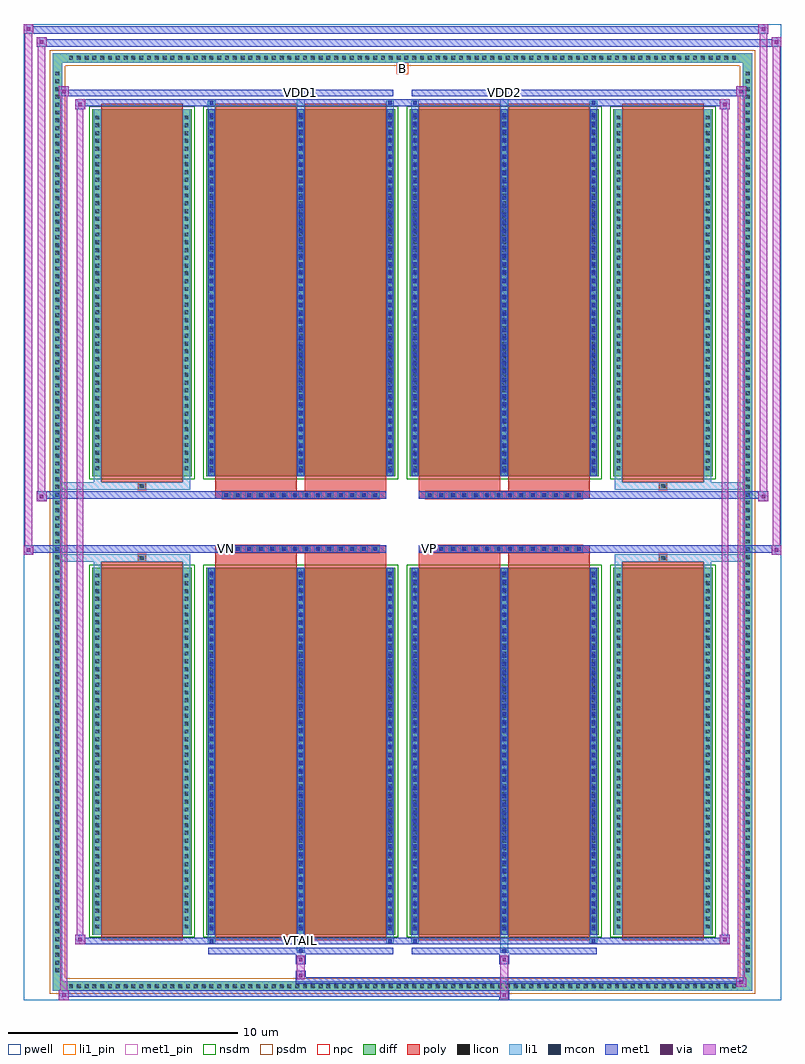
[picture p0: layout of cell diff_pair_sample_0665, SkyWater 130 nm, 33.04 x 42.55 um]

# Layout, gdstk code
import gdstk
lib = gdstk.Library(unit=1e-6, precision=5e-09)
def R(c, l, rs):  # rectangles x0, y0, x1, y1
    for r in rs: c.add(gdstk.rectangle(r[:2], r[2:], *l))
def A(c, l, x, y, w, h, nx, ny, dx, dy):  # array of equal rectangles
    R(c, l, [(x+i*dx, y+j*dy, x+i*dx+w, y+j*dy+h) for i in range(nx) for j in range(ny)])
def P(c, l, *ps):  # polygons
    for p in ps: c.add(gdstk.Polygon(p, *l))
pwell = (64, 44)
diff = (65, 20)
poly = (66, 20)
licon = (66, 44)
li1_pin = (67, 16)
li1 = (67, 20)
mcon = (67, 44)
met1_pin = (68, 16)
met1 = (68, 20)
via = (68, 44)
met2 = (69, 20)
nsdm = (93, 44)
psdm = (94, 20)
npc = (95, 20)

diff_pair_sample_0665 = lib.new_cell('diff_pair_sample_0665')
R(diff_pair_sample_0665, pwell, [(-16.52,-20.84,16.52,21.71), (-13.84,-19.03,-0.01,-0.805), (0.01,-19.03,13.84,-0.805), (-13.84,0.805,-0.01,19.03), (0.01,0.805,13.84,19.03)])
A(diff_pair_sample_0665, diff, -14.655, -20.44, 0.41, 0.41, 86, 2, 0.34, 40.47)
A(diff_pair_sample_0665, diff, -15.25, -19.755, 0.41, 0.41, 1, 116, 0, 0.34)
A(diff_pair_sample_0665, diff, 14.84, -19.755, 0.41, 0.41, 1, 116, 0, 0.34)
R(diff_pair_sample_0665, diff, [(-14.655,-20.44,14.655,-20.03), (-15.25,-19.755,-14.84,19.755), (14.84,-19.755,15.25,19.755), (-13.53,-17.985,-9.19,-1.985), (-8.55,-17.985,-0.32,-1.985), (0.32,-17.985,8.55,-1.985), (9.19,-17.985,13.53,-1.985), (-13.53,1.985,-9.19,17.985), (-8.55,1.985,-0.32,17.985), (0.32,1.985,8.55,17.985), (9.19,1.985,13.53,17.985), (-14.655,20.03,14.655,20.44)])
P(diff_pair_sample_0665, diff, [(15.25,20.44),(-15.25,20.44),(-15.25,-20.03),(-14.84,-20.03),(-14.84,20.03),(14.84,20.03),(14.84,-20.03),(-14.84,-20.03),(-15.25,-20.03),(-15.25,-20.44),(15.25,-20.44)])
A(diff_pair_sample_0665, poly, -7.85, -1.335, 0.33, 0.33, 14, 2, 0.5, 2.34)
A(diff_pair_sample_0665, poly, 1.02, -1.335, 0.33, 0.33, 14, 2, 0.5, 2.34)
R(diff_pair_sample_0665, poly, [(-13.14,-18.235,-9.58,-1.735), (-8.16,-18.235,-4.6,-1.735), (-4.27,-18.235,-0.71,-1.735), (0.71,-18.235,4.27,-1.735), (4.6,-18.235,8.16,-1.735), (9.58,-18.235,13.14,-1.735), (-11.525,-1.735,-11.195,-1.405), (-11.525,-1.735,-11.195,-1.405), (-8.16,-1.735,-4.6,-1.335), (-4.27,-1.735,-0.71,-1.335), (0.71,-1.735,4.27,-1.335), (4.6,-1.735,8.16,-1.335), (11.195,-1.735,11.525,-1.405), (11.195,-1.735,11.525,-1.405), (-8.16,-1.335,-0.71,-1.005), (0.71,-1.335,8.16,-1.005), (-8.16,1.005,-0.71,1.335), (0.71,1.005,8.16,1.335), (-8.16,1.335,-4.6,1.735), (-4.27,1.335,-0.71,1.735), (0.71,1.335,4.27,1.735), (4.6,1.335,8.16,1.735), (-11.525,1.405,-11.195,1.735), (-11.525,1.405,-11.195,1.735), (11.195,1.405,11.525,1.735), (11.195,1.405,11.525,1.735), (-13.14,1.735,-9.58,18.235), (-8.16,1.735,-4.6,18.235), (-4.27,1.735,-0.71,18.235), (0.71,1.735,4.27,18.235), (4.6,1.735,8.16,18.235), (9.58,1.735,13.14,18.235)])
A(diff_pair_sample_0665, licon, -14.535, -20.32, 0.17, 0.17, 86, 2, 0.34, 40.47)
A(diff_pair_sample_0665, licon, -15.13, -19.635, 0.17, 0.17, 1, 116, 0, 0.34)
A(diff_pair_sample_0665, licon, 14.96, -19.635, 0.17, 0.17, 1, 116, 0, 0.34)
A(diff_pair_sample_0665, licon, -13.39, -17.72, 0.17, 0.17, 1, 46, 0, 0.34)
A(diff_pair_sample_0665, licon, -9.5, -17.72, 0.17, 0.17, 1, 46, 0, 0.34)
A(diff_pair_sample_0665, licon, -8.41, -17.72, 0.17, 0.17, 3, 46, 3.89, 0.34)
A(diff_pair_sample_0665, licon, 0.46, -17.72, 0.17, 0.17, 3, 46, 3.89, 0.34)
A(diff_pair_sample_0665, licon, 9.33, -17.72, 0.17, 0.17, 1, 46, 0, 0.34)
A(diff_pair_sample_0665, licon, 13.22, -17.72, 0.17, 0.17, 1, 46, 0, 0.34)
A(diff_pair_sample_0665, licon, -7.77, -1.255, 0.17, 0.17, 14, 2, 0.5, 2.34)
A(diff_pair_sample_0665, licon, 1.1, -1.255, 0.17, 0.17, 14, 2, 0.5, 2.34)
A(diff_pair_sample_0665, licon, -13.39, 2.25, 0.17, 0.17, 1, 46, 0, 0.34)
A(diff_pair_sample_0665, licon, -9.5, 2.25, 0.17, 0.17, 1, 46, 0, 0.34)
A(diff_pair_sample_0665, licon, -8.41, 2.25, 0.17, 0.17, 3, 46, 3.89, 0.34)
A(diff_pair_sample_0665, licon, 0.46, 2.25, 0.17, 0.17, 3, 46, 3.89, 0.34)
A(diff_pair_sample_0665, licon, 9.33, 2.25, 0.17, 0.17, 1, 46, 0, 0.34)
A(diff_pair_sample_0665, licon, 13.22, 2.25, 0.17, 0.17, 1, 46, 0, 0.34)
R(diff_pair_sample_0665, licon, [(-11.445,-1.655,-11.275,-1.485), (11.275,-1.655,11.445,-1.485), (-11.445,1.485,-11.275,1.655), (11.275,1.485,11.445,1.655)])
R(diff_pair_sample_0665, li1_pin, [(-0.25,19.53,0.25,20.03)])
A(diff_pair_sample_0665, li1, -14.615, -20.4, 0.33, 0.33, 86, 2, 0.34, 40.47)
A(diff_pair_sample_0665, li1, -15.21, -19.715, 0.33, 0.33, 1, 116, 0, 0.34)
A(diff_pair_sample_0665, li1, 14.88, -19.715, 0.33, 0.33, 1, 116, 0, 0.34)
A(diff_pair_sample_0665, li1, -8.49, -17.985, 0.33, 16, 3, 2, 3.89, 19.97)
A(diff_pair_sample_0665, li1, 0.38, -17.985, 0.33, 16, 3, 2, 3.89, 19.97)
A(diff_pair_sample_0665, li1, -8.41, -17.81, 0.17, 0.17, 3, 44, 3.89, 0.36)
A(diff_pair_sample_0665, li1, -8.41, -17.81, 0.17, 15.65, 3, 2, 3.89, 19.97)
A(diff_pair_sample_0665, li1, 0.46, -17.81, 0.17, 0.17, 3, 44, 3.89, 0.36)
A(diff_pair_sample_0665, li1, 0.46, -17.81, 0.17, 15.65, 3, 2, 3.89, 19.97)
A(diff_pair_sample_0665, li1, -13.47, -17.8, 0.33, 0.33, 1, 46, 0, 0.34)
A(diff_pair_sample_0665, li1, -9.58, -17.8, 0.33, 0.33, 1, 46, 0, 0.34)
A(diff_pair_sample_0665, li1, -8.49, -17.8, 0.33, 0.33, 3, 46, 3.89, 0.34)
A(diff_pair_sample_0665, li1, 0.38, -17.8, 0.33, 0.33, 3, 46, 3.89, 0.34)
A(diff_pair_sample_0665, li1, 9.25, -17.8, 0.33, 0.33, 1, 46, 0, 0.34)
A(diff_pair_sample_0665, li1, 13.14, -17.8, 0.33, 0.33, 1, 46, 0, 0.34)
A(diff_pair_sample_0665, li1, -7.85, -1.335, 0.33, 0.33, 14, 2, 0.5, 2.34)
A(diff_pair_sample_0665, li1, 1.02, -1.335, 0.33, 0.33, 14, 2, 0.5, 2.34)
A(diff_pair_sample_0665, li1, -8.41, 2.16, 0.17, 0.17, 3, 44, 3.89, 0.36)
A(diff_pair_sample_0665, li1, 0.46, 2.16, 0.17, 0.17, 3, 44, 3.89, 0.36)
A(diff_pair_sample_0665, li1, -13.47, 2.17, 0.33, 0.33, 1, 46, 0, 0.34)
A(diff_pair_sample_0665, li1, -9.58, 2.17, 0.33, 0.33, 1, 46, 0, 0.34)
A(diff_pair_sample_0665, li1, -8.49, 2.17, 0.33, 0.33, 3, 46, 3.89, 0.34)
A(diff_pair_sample_0665, li1, 0.38, 2.17, 0.33, 0.33, 3, 46, 3.89, 0.34)
A(diff_pair_sample_0665, li1, 9.25, 2.17, 0.33, 0.33, 1, 46, 0, 0.34)
A(diff_pair_sample_0665, li1, 13.14, 2.17, 0.33, 0.33, 1, 46, 0, 0.34)
R(diff_pair_sample_0665, li1, [(-15.25,-20.44,-14.84,-20.03), (-15.25,-20.44,-14.84,-20.03), (-14.84,-20.44,14.84,-20.03), (14.84,-20.44,15.25,-20.03), (14.84,-20.44,15.25,-20.03), (-15.25,-20.03,-14.84,20.03), (14.84,-20.03,15.25,20.03), (-4.6,-18.79,-4.27,-17.985), (-4.52,-18.79,-4.35,-18.62), (4.27,-18.79,4.6,-17.985), (4.35,-18.79,4.52,-18.62), (-8.49,-18.36,-8.16,-17.985), (-8.41,-18.36,-8.24,-18.19), (-0.71,-18.36,-0.38,-17.985), (-0.63,-18.36,-0.46,-18.19), (0.38,-18.36,0.71,-17.985), (0.46,-18.36,0.63,-18.19), (8.16,-18.36,8.49,-17.985), (8.24,-18.36,8.41,-18.19), (-13.47,-17.985,-13.14,-1.985), (-9.58,-17.985,-9.25,-1.985), (9.25,-17.985,9.58,-1.985), (13.14,-17.985,13.47,-1.985), (-13.47,-1.985,-13.14,-1.405), (-9.58,-1.985,-9.25,-1.405), (9.25,-1.985,9.58,-1.405), (13.14,-1.985,13.47,-1.405), (-15.25,-1.735,-11.525,-1.405), (-13.47,-1.735,-11.525,-1.405), (-11.525,-1.735,-11.195,-1.405), (-11.195,-1.735,-9.25,-1.405), (9.25,-1.735,11.195,-1.405), (11.195,-1.735,11.525,-1.405), (11.195,-1.735,15.25,-1.405), (11.525,-1.735,13.47,-1.405), (-15.25,1.405,-11.525,1.735), (-13.47,1.405,-11.525,1.735), (-13.47,1.405,-13.14,1.985), (-11.525,1.405,-11.195,1.735), (-11.195,1.405,-9.25,1.735), (-9.58,1.405,-9.25,1.985), (9.25,1.405,11.195,1.735), (9.25,1.405,9.58,1.985), (11.195,1.405,11.525,1.735), (11.195,1.405,15.25,1.735), (11.525,1.405,13.47,1.735), (13.14,1.405,13.47,1.985), (-13.47,1.985,-13.14,17.985), (-9.58,1.985,-9.25,17.985), (9.25,1.985,9.58,17.985), (13.14,1.985,13.47,17.985), (-8.49,17.985,-8.16,18.36), (-4.6,17.985,-4.27,18.79), (-0.71,17.985,-0.38,18.36), (0.38,17.985,0.71,18.36), (4.27,17.985,4.6,18.79), (8.16,17.985,8.49,18.36), (-8.41,18.19,-8.24,18.36), (-0.63,18.19,-0.46,18.36), (0.46,18.19,0.63,18.36), (8.24,18.19,8.41,18.36), (-4.52,18.62,-4.35,18.79), (4.35,18.62,4.52,18.79), (-15.25,20.03,-14.84,20.44), (-15.25,20.03,-14.84,20.44), (-14.84,20.03,14.84,20.44), (14.84,20.03,15.25,20.44), (14.84,20.03,15.25,20.44)])
A(diff_pair_sample_0665, mcon, -8.41, -17.81, 0.17, 0.17, 3, 44, 3.89, 0.36)
A(diff_pair_sample_0665, mcon, 0.46, -17.81, 0.17, 0.17, 3, 44, 3.89, 0.36)
A(diff_pair_sample_0665, mcon, -7.77, -1.255, 0.17, 0.17, 14, 2, 0.5, 2.34)
A(diff_pair_sample_0665, mcon, 1.1, -1.255, 0.17, 0.17, 14, 2, 0.5, 2.34)
A(diff_pair_sample_0665, mcon, -8.41, 2.16, 0.17, 0.17, 3, 44, 3.89, 0.36)
A(diff_pair_sample_0665, mcon, 0.46, 2.16, 0.17, 0.17, 3, 44, 3.89, 0.36)
R(diff_pair_sample_0665, mcon, [(-4.52,-18.79,-4.35,-18.62), (4.35,-18.79,4.52,-18.62), (-8.41,-18.36,-8.24,-18.19), (-0.63,-18.36,-0.46,-18.19), (0.46,-18.36,0.63,-18.19), (8.24,-18.36,8.41,-18.19), (-8.41,18.19,-8.24,18.36), (-0.63,18.19,-0.46,18.36), (0.46,18.19,0.63,18.36), (8.24,18.19,8.41,18.36), (-4.52,18.62,-4.35,18.79), (4.35,18.62,4.52,18.79)])
R(diff_pair_sample_0665, met1_pin, [(-4.57,-18.4,-4.3,-18.13), (-7.82,-1.295,-7.55,-1.025), (1.05,-1.295,1.32,-1.025), (-4.57,18.58,-4.3,18.85), (4.3,18.58,4.57,18.85)])
A(diff_pair_sample_0665, met1, -8.47, -17.985, 0.29, 16, 3, 2, 3.89, 19.97)
A(diff_pair_sample_0665, met1, 0.4, -17.985, 0.29, 16, 3, 2, 3.89, 19.97)
A(diff_pair_sample_0665, met1, -8.47, -17.87, 0.29, 0.29, 3, 44, 3.89, 0.36)
A(diff_pair_sample_0665, met1, 0.4, -17.87, 0.29, 0.29, 3, 44, 3.89, 0.36)
A(diff_pair_sample_0665, met1, -7.83, -1.315, 0.29, 0.29, 14, 2, 0.5, 2.34)
A(diff_pair_sample_0665, met1, 1.04, -1.315, 0.29, 0.29, 14, 2, 0.5, 2.34)
A(diff_pair_sample_0665, met1, -8.47, 2.1, 0.29, 0.29, 3, 44, 3.89, 0.36)
A(diff_pair_sample_0665, met1, 0.4, 2.1, 0.29, 0.29, 3, 44, 3.89, 0.36)
R(diff_pair_sample_0665, met1, [(-14.98,-20.84,-14.55,-20.41), (4.22,-20.84,4.65,-20.41), (-14.98,-20.7,4.65,-20.41), (14.55,-20.27,14.98,-19.84), (-4.65,-20.13,14.98,-19.84), (-4.65,-19.99,-4.22,-19.56), (-4.65,-19.28,-4.22,-18.85), (4.22,-19.28,4.65,-18.85), (-8.47,-18.85,-0.4,-18.56), (-4.58,-18.85,-4.29,-18.56), (0.4,-18.85,8.47,-18.56), (4.29,-18.85,4.58,-18.56), (-14.27,-18.42,-13.84,-17.99), (-14.27,-18.42,-8.47,-18.13), (-8.47,-18.42,-8.18,-18.13), (-8.47,-18.42,-0.4,-18.13), (-0.69,-18.42,-0.4,-18.13), (-0.4,-18.42,0.4,-18.13), (0.4,-18.42,0.69,-18.13), (0.4,-18.42,8.47,-18.13), (8.18,-18.42,8.47,-18.13), (8.47,-18.42,14.27,-18.13), (13.84,-18.42,14.27,-17.99), (-16.52,-1.435,-16.09,-1.005), (16.09,-1.435,16.52,-1.005), (-16.52,-1.335,-0.71,-1.005), (-8.16,-1.335,-0.71,-1.005), (0.71,-1.335,8.16,-1.005), (0.71,-1.335,16.52,-1.005), (-15.95,0.905,-15.52,1.335), (15.52,0.905,15.95,1.335), (-15.95,1.005,-8.16,1.335), (-8.16,1.005,-0.71,1.335), (0.71,1.005,8.16,1.335), (8.16,1.005,15.95,1.335), (-14.27,17.99,-13.84,18.42), (13.84,17.99,14.27,18.42), (-14.27,18.13,-8.47,18.42), (-8.47,18.13,-8.18,18.42), (-8.47,18.13,-0.4,18.42), (-0.69,18.13,-0.4,18.42), (-0.4,18.13,0.4,18.42), (0.4,18.13,0.69,18.42), (0.4,18.13,8.47,18.42), (8.18,18.13,8.47,18.42), (8.47,18.13,14.27,18.42), (-14.98,18.56,-14.55,18.99), (-14.98,18.56,-8.47,18.85), (-8.47,18.56,-0.4,18.85), (-4.58,18.56,-4.29,18.85), (0.4,18.56,8.47,18.85), (4.29,18.56,4.58,18.85), (8.47,18.56,14.98,18.85), (14.55,18.56,14.98,18.99), (-15.95,20.71,-15.52,21.14), (-15.95,20.71,-13.84,21.04), (-13.84,20.71,13.84,21.04), (13.84,20.71,16.52,21.04), (16.09,20.71,16.52,21.14), (-16.52,21.28,-16.09,21.71), (-16.52,21.28,-13.84,21.61), (-13.84,21.28,13.84,21.61), (13.84,21.28,15.95,21.61), (15.52,21.28,15.95,21.71)])
R(diff_pair_sample_0665, via, [(-14.84,-20.7,-14.69,-20.55), (4.36,-20.7,4.51,-20.55), (14.69,-20.13,14.84,-19.98), (-4.51,-19.85,-4.36,-19.7), (-4.51,-19.14,-4.36,-18.99), (4.36,-19.14,4.51,-18.99), (-14.13,-18.28,-13.98,-18.13), (13.98,-18.28,14.13,-18.13), (-16.38,-1.295,-16.23,-1.145), (16.23,-1.295,16.38,-1.145), (-15.81,1.045,-15.66,1.195), (15.66,1.045,15.81,1.195), (-14.13,18.13,-13.98,18.28), (13.98,18.13,14.13,18.28), (-14.84,18.7,-14.69,18.85), (14.69,18.7,14.84,18.85), (-15.81,20.85,-15.66,21), (16.23,20.85,16.38,21), (-16.38,21.42,-16.23,21.57), (15.66,21.42,15.81,21.57)])
R(diff_pair_sample_0665, met2, [(-14.98,-20.84,-14.55,-20.41), (-14.91,-20.84,-14.62,18.99), (-14.62,-20.84,-14.55,-20.41), (-14.93,-20.79,-14.6,-20.46), (4.27,-20.79,4.6,-20.46), (4.27,-20.46,4.6,-19.23), (14.55,-20.27,14.98,-19.84), (14.62,-20.27,14.91,18.99), (14.91,-20.27,14.98,-19.84), (14.6,-20.22,14.93,-19.89), (-4.6,-19.94,-4.27,-19.61), (-4.6,-19.61,-4.27,-19.23), (-4.6,-19.23,-4.27,-18.9), (4.27,-19.23,4.6,-18.9), (-14.27,-18.42,-13.84,-17.99), (-14.2,-18.42,-13.91,18.42), (-13.91,-18.42,-13.84,-17.99), (13.84,-18.42,14.27,-17.99), (13.91,-18.42,14.2,18.42), (14.2,-18.42,14.27,-17.99), (-14.22,-18.37,-13.89,-18.04), (13.89,-18.37,14.22,-18.04), (-16.52,-1.435,-16.09,-1.005), (-16.47,-1.435,-16.14,21.71), (-16.14,-1.435,-16.09,-1.005), (16.09,-1.435,16.52,-1.005), (16.14,-1.435,16.47,21.14), (16.47,-1.435,16.52,-1.005), (-16.47,-1.385,-16.14,-1.055), (16.14,-1.385,16.47,-1.055), (-15.95,0.905,-15.52,1.335), (-15.9,0.905,-15.57,21.14), (-15.57,0.905,-15.52,1.335), (15.52,0.905,15.95,1.335), (15.57,0.905,15.9,21.71), (15.9,0.905,15.95,1.335), (-15.9,0.955,-15.57,1.285), (15.57,0.955,15.9,1.285), (-14.27,17.99,-13.84,18.42), (-13.91,17.99,-13.84,18.42), (13.84,17.99,14.27,18.42), (14.2,17.99,14.27,18.42), (-14.22,18.04,-13.89,18.37), (13.89,18.04,14.22,18.37), (-14.98,18.56,-14.55,18.99), (-14.62,18.56,-14.55,18.99), (14.55,18.56,14.98,18.99), (14.91,18.56,14.98,18.99), (-14.93,18.61,-14.6,18.94), (14.6,18.61,14.93,18.94), (-15.95,20.71,-15.52,21.14), (-15.57,20.71,-15.52,21.14), (16.09,20.71,16.52,21.14), (16.47,20.71,16.52,21.14), (-15.9,20.76,-15.57,21.09), (16.14,20.76,16.47,21.09), (-16.52,21.28,-16.09,21.71), (-16.14,21.28,-16.09,21.71), (15.52,21.28,15.95,21.71), (15.9,21.28,15.95,21.71), (-16.47,21.33,-16.14,21.66), (15.57,21.33,15.9,21.66)])
R(diff_pair_sample_0665, nsdm, [(-13.66,-18.115,-9.06,-1.855), (-8.68,-18.115,-0.19,-1.855), (0.19,-18.115,8.68,-1.855), (9.06,-18.115,13.66,-1.855), (-13.66,1.855,-9.06,18.115), (-8.68,1.855,-0.19,18.115), (0.19,1.855,8.68,18.115), (9.06,1.855,13.66,18.115)])
P(diff_pair_sample_0665, psdm, [(15.38,20.57),(-15.38,20.57),(-15.38,-19.9),(-14.71,-19.9),(-14.71,19.9),(14.71,19.9),(14.71,-19.9),(-14.71,-19.9),(-15.38,-19.9),(-15.38,-20.57),(15.38,-20.57)])
A(diff_pair_sample_0665, npc, -7.87, -1.355, 0.37, 0.37, 14, 2, 0.5, 2.34)
A(diff_pair_sample_0665, npc, 1, -1.355, 0.37, 0.37, 14, 2, 0.5, 2.34)
R(diff_pair_sample_0665, npc, [(-11.545,-1.755,-11.175,-1.385), (11.175,-1.755,11.545,-1.385), (-7.87,-1.355,-7,-0.985), (-7.87,-1.355,-7,-0.985), (-7.37,-1.355,-6.5,-0.985), (-7.37,-1.355,-6.5,-0.985), (-6.87,-1.355,-6,-0.985), (-6.87,-1.355,-6,-0.985), (-6.37,-1.355,-5.5,-0.985), (-6.37,-1.355,-5.5,-0.985), (-5.87,-1.355,-5,-0.985), (-5.87,-1.355,-5,-0.985), (-5.37,-1.355,-4.5,-0.985), (-5.37,-1.355,-4.5,-0.985), (-4.87,-1.355,-4,-0.985), (-4.87,-1.355,-4,-0.985), (-4.37,-1.355,-3.5,-0.985), (-4.37,-1.355,-3.5,-0.985), (-3.87,-1.355,-3,-0.985), (-3.87,-1.355,-3,-0.985), (-3.37,-1.355,-2.5,-0.985), (-3.37,-1.355,-2.5,-0.985), (-2.87,-1.355,-2,-0.985), (-2.87,-1.355,-2,-0.985), (-2.37,-1.355,-1.5,-0.985), (-2.37,-1.355,-1.5,-0.985), (-1.87,-1.355,-1,-0.985), (-1.87,-1.355,-1,-0.985), (1,-1.355,1.87,-0.985), (1,-1.355,1.87,-0.985), (1.5,-1.355,2.37,-0.985), (1.5,-1.355,2.37,-0.985), (2,-1.355,2.87,-0.985), (2,-1.355,2.87,-0.985), (2.5,-1.355,3.37,-0.985), (2.5,-1.355,3.37,-0.985), (3,-1.355,3.87,-0.985), (3,-1.355,3.87,-0.985), (3.5,-1.355,4.37,-0.985), (3.5,-1.355,4.37,-0.985), (4,-1.355,4.87,-0.985), (4,-1.355,4.87,-0.985), (4.5,-1.355,5.37,-0.985), (4.5,-1.355,5.37,-0.985), (5,-1.355,5.87,-0.985), (5,-1.355,5.87,-0.985), (5.5,-1.355,6.37,-0.985), (5.5,-1.355,6.37,-0.985), (6,-1.355,6.87,-0.985), (6,-1.355,6.87,-0.985), (6.5,-1.355,7.37,-0.985), (6.5,-1.355,7.37,-0.985), (7,-1.355,7.87,-0.985), (7,-1.355,7.87,-0.985), (-7.87,0.985,-7,1.355), (-7.87,0.985,-7,1.355), (-7.37,0.985,-6.5,1.355), (-7.37,0.985,-6.5,1.355), (-6.87,0.985,-6,1.355), (-6.87,0.985,-6,1.355), (-6.37,0.985,-5.5,1.355), (-6.37,0.985,-5.5,1.355), (-5.87,0.985,-5,1.355), (-5.87,0.985,-5,1.355), (-5.37,0.985,-4.5,1.355), (-5.37,0.985,-4.5,1.355), (-4.87,0.985,-4,1.355), (-4.87,0.985,-4,1.355), (-4.37,0.985,-3.5,1.355), (-4.37,0.985,-3.5,1.355), (-3.87,0.985,-3,1.355), (-3.87,0.985,-3,1.355), (-3.37,0.985,-2.5,1.355), (-3.37,0.985,-2.5,1.355), (-2.87,0.985,-2,1.355), (-2.87,0.985,-2,1.355), (-2.37,0.985,-1.5,1.355), (-2.37,0.985,-1.5,1.355), (-1.87,0.985,-1,1.355), (-1.87,0.985,-1,1.355), (1,0.985,1.87,1.355), (1,0.985,1.87,1.355), (1.5,0.985,2.37,1.355), (1.5,0.985,2.37,1.355), (2,0.985,2.87,1.355), (2,0.985,2.87,1.355), (2.5,0.985,3.37,1.355), (2.5,0.985,3.37,1.355), (3,0.985,3.87,1.355), (3,0.985,3.87,1.355), (3.5,0.985,4.37,1.355), (3.5,0.985,4.37,1.355), (4,0.985,4.87,1.355), (4,0.985,4.87,1.355), (4.5,0.985,5.37,1.355), (4.5,0.985,5.37,1.355), (5,0.985,5.87,1.355), (5,0.985,5.87,1.355), (5.5,0.985,6.37,1.355), (5.5,0.985,6.37,1.355), (6,0.985,6.87,1.355), (6,0.985,6.87,1.355), (6.5,0.985,7.37,1.355), (6.5,0.985,7.37,1.355), (7,0.985,7.87,1.355), (7,0.985,7.87,1.355), (-11.545,1.385,-11.175,1.755), (11.175,1.385,11.545,1.755)])
diff_pair_sample_0665.add(gdstk.Label('VTAIL', (-4.435,-18.265), layer=68, texttype=5))
diff_pair_sample_0665.add(gdstk.Label('VN', (-7.685,-1.16), layer=68, texttype=5))
diff_pair_sample_0665.add(gdstk.Label('VP', (1.185,-1.16), layer=68, texttype=5))
diff_pair_sample_0665.add(gdstk.Label('B', (0,19.78), layer=67, texttype=5))
diff_pair_sample_0665.add(gdstk.Label('VDD2', (4.435,18.715), layer=68, texttype=5))
diff_pair_sample_0665.add(gdstk.Label('VDD1', (-4.435,18.715), layer=68, texttype=5))

lib.write_gds('diff_pair_sample_0665.gds')
